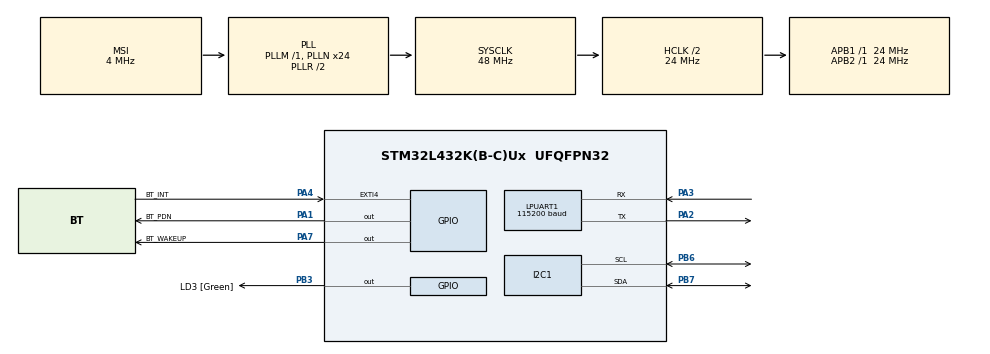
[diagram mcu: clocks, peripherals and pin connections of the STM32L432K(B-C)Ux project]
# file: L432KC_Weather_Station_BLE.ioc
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Dma.LPUART_RX.0.Direction=DMA_PERIPH_TO_MEMORY
Dma.LPUART_RX.0.Instance=DMA2_Channel7
Dma.LPUART_RX.0.MemDataAlignment=DMA_MDATAALIGN_BYTE
Dma.LPUART_RX.0.MemInc=DMA_MINC_ENABLE
Dma.LPUART_RX.0.Mode=DMA_NORMAL
Dma.LPUART_RX.0.PeriphDataAlignment=DMA_PDATAALIGN_BYTE
Dma.LPUART_RX.0.PeriphInc=DMA_PINC_DISABLE
Dma.LPUART_RX.0.Priority=DMA_PRIORITY_HIGH
Dma.Request0=LPUART_RX
I2C1.Timing=0x00506682
LPUART1.BaudRate=115200
LPUART1.WordLength=UART_WORDLENGTH_8B
Mcu.Family=STM32L4
Mcu.Name=STM32L432K(B-C)Ux
Mcu.Package=UFQFPN32
NVIC.DMA2_Channel7_IRQn=true\:0\:0\:false\:false\:true\:false\:true
NVIC.EXTI4_IRQn=true\:0\:0\:false\:false\:true\:true\:true
NVIC.PriorityGroup=NVIC_PRIORITYGROUP_4
PA0.Mode=HSE-External-Clock-Source-for-LittleOrca
PA0.Signal=RCC_CK_IN
PA1.GPIO_Label=BT_PDN
PA1.Signal=GPIO_Output
PA13\ (JTMS-SWDIO).GPIO_Label=SWDIO
PA13\ (JTMS-SWDIO).Mode=Serial_Wire
PA13\ (JTMS-SWDIO).Signal=SYS_JTMS-SWDIO
PA14\ (JTCK-SWCLK).GPIO_Label=SWCLK
PA14\ (JTCK-SWCLK).Mode=Serial_Wire
PA14\ (JTCK-SWCLK).Signal=SYS_JTCK-SWCLK
PA2.Mode=Asynchronous
PA2.Signal=LPUART1_TX
PA3.Mode=Asynchronous
PA3.Signal=LPUART1_RX
PA4.GPIO_Label=BT_INT
PA4.GPIO_ModeDefaultEXTI=GPIO_MODE_IT_RISING_FALLING
PA4.Signal=GPXTI4
PA7.GPIO_Label=BT_WAKEUP
PA7.GPIO_ModeDefaultOutputPP=GPIO_MODE_OUTPUT_PP
PA7.GPIO_PuPd=GPIO_NOPULL
PA7.PinState=GPIO_PIN_SET
PA7.Signal=GPIO_Output
PB3\ (JTDO-TRACESWO).GPIO_Label=LD3 [Green]
PB3\ (JTDO-TRACESWO).Signal=GPIO_Output
PB6.Mode=I2C
PB6.Signal=I2C1_SCL
PB7.Mode=I2C
PB7.Signal=I2C1_SDA
PC14-OSC32_IN\ (PC14).Mode=LSE-External-Oscillator
PC14-OSC32_IN\ (PC14).Signal=RCC_OSC32_IN
PC15-OSC32_OUT\ (PC15).Mode=LSE-External-Oscillator
PC15-OSC32_OUT\ (PC15).Signal=RCC_OSC32_OUT
ProjectManager.HeapSize=0x200
ProjectManager.StackSize=0x400
ProjectManager.TargetToolchain=STM32CubeIDE
RCC.ADCFreq_Value=16000000
RCC.AHBCLKDivider=RCC_SYSCLK_DIV2
RCC.AHBFreq_Value=24000000
RCC.APB1Freq_Value=24000000
RCC.APB1TimFreq_Value=24000000
RCC.APB2Freq_Value=24000000
RCC.APB2TimFreq_Value=24000000
RCC.CortexFreq_Value=24000000
RCC.HCLKFreq_Value=24000000
RCC.HSE_VALUE=8000000
RCC.HSI16_VALUE=16000000
RCC.HSI48_VALUE=48000000
RCC.HSI_VALUE=16000000
RCC.MSI_VALUE=4000000
RCC.PLLMUL=RCC_PLLMUL_4
RCC.PLLN=24
RCC.RTCClockSelection=RCC_RTCCLKSOURCE_LSE
RCC.SYSCLKFreq_VALUE=48000000
RCC.SYSCLKSource=RCC_SYSCLKSOURCE_PLLCLK
RCC.USBFreq_Value=16000000
RCC.VCOOutputFreq_Value=96000000
board=NUCLEO-L432KC

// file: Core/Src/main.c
/* USER CODE BEGIN Header */
/**
  ******************************************************************************
  * @file           : main.c
  * @brief          : Main program body
  ******************************************************************************
  * @attention
  *
  * <h2><center>&copy; Copyright (c) 2021 STMicroelectronics.
  * All rights reserved.</center></h2>
  *
  * This software component is licensed by ST under BSD 3-Clause license,
  * the "License"; You may not use this file except in compliance with the
  * License. You may obtain a copy of the License at:
  *                        opensource.org/licenses/BSD-3-Clause
  *
  ******************************************************************************
  */
/* USER CODE END Header */
#include "main.h"
#include "dma.h"
#include "i2c.h"
#include "usart.h"
#include "gpio.h"

/* USER CODE BEGIN Includes */
#include "string.h"
#include "bme280.h"
#include "bh1750.h"

#include "stdio.h"
/* USER CODE END Includes */

/* USER CODE BEGIN PTD */
typedef enum {
	bt_disconnected = 0,
	bt_connected = 1
} bt_state_t;
/* USER CODE END PTD */

/* USER CODE BEGIN PV */
bme280_t bme;
bh1750_t bh;

// BT module variables
size_t len;
char rx_buff[50];
char tx_buff[100];
uint8_t dma_state = 0;
bt_state_t bt_state = bt_disconnected;
/* USER CODE END PV */

void SystemClock_Config(void);
/* USER CODE BEGIN PFP */
void TimeCallback(void);
/* USER CODE END PFP */

int main(void)
{

  /* MCU Configuration--------------------------------------------------------*/

  /* Reset of all peripherals, Initializes the Flash interface and the Systick. */
  HAL_Init();

  /* Configure the system clock */
  SystemClock_Config();

  /* Initialize all configured peripherals */
  MX_GPIO_Init();
  MX_I2C1_Init();
  MX_DMA_Init();
  MX_LPUART1_UART_Init();
  /* USER CODE BEGIN 2 */
  HAL_Delay(1000);

  HAL_GPIO_WritePin(BT_WAKEUP_GPIO_Port, BT_WAKEUP_Pin, GPIO_PIN_RESET);
  HAL_Delay(10);
  HAL_UART_Transmit(&hlpuart1, (uint8_t*) "TTM: NAM-?\n\r\0", 13, 100);
  HAL_GPIO_WritePin(BT_WAKEUP_GPIO_Port, BT_WAKEUP_Pin, GPIO_PIN_SET);

  bme.i2c = &hi2c1;

  bme.filter = BME280_FILTER_OFF;
  bme.temp_oversampling = BME280_TEMPERATURE_OVER_1;
  bme.press_oversampling = BME280_PRESSURE_OVER_1;
  bme.hum_oversampling = BME280_HUMIDITY_OVER_1;
  bme.work_mode = BME280_NORMAL_MODE;
  bme.standby_time = BME280_STANDBY_20;

  bh.i2c = &hi2c1;
  bh.work_mode = BH1750_ONE_H_RES2_MODE;

  BME280_Init(&bme);
  bh1750_init(&bh);
  HAL_Delay(1000);
  HAL_GPIO_WritePin(LD3_GPIO_Port, LD3_Pin, GPIO_PIN_SET);
  BME280_ReadAll(&bme);
  bh1750_ReadMeasurement(&bh);
  HAL_Delay(1000);
  HAL_GPIO_WritePin(LD3_GPIO_Port, LD3_Pin, GPIO_PIN_RESET);
/*
  HAL_PWR_EnableSleepOnExit();
  HAL_RTCEx_SetWakeUpTimer_IT(&hrtc, 9, RTC_WAKEUPCLOCK_CK_SPRE_16BITS);
*/

  //HAL_UART_Transmit(&hlpuart1, (uint8_t*) "TTM: MAC-? \r\n\0", strlen("TTM: MAC-? \r\n\0"), 100);

  /* USER CODE END 2 */

  /* Infinite loop */
  /* USER CODE BEGIN WHILE */
  while (1)
  {
	SystemClock_Config();
	HAL_ResumeTick();
	  if (bt_state == bt_connected) {
		  // read data form all sensors
		  BME280_ReadAll(&bme);
		  bh1750_ReadMeasurement(&bh);
		  // turn it into string
		  len = sprintf((char*) tx_buff, "T:%.2f H:%.2f P:%.2f L:%.2f\n\r", bme.temp,bme.hum, bme.press, bh.lx);
		  // send it to Bluetooth module
		  HAL_GPIO_WritePin(BT_WAKEUP_GPIO_Port, BT_WAKEUP_Pin, GPIO_PIN_RESET);
		  HAL_Delay(2);
		  HAL_UART_Transmit(&hlpuart1, (uint8_t*) tx_buff, len, 100);
		  HAL_GPIO_WritePin(BT_WAKEUP_GPIO_Port, BT_WAKEUP_Pin, GPIO_PIN_SET);

		  HAL_Delay(5000);
	  }

    /* USER CODE END WHILE */

    /* USER CODE BEGIN 3 */
	  HAL_SuspendTick();
	  HAL_PWREx_EnterSTOP2Mode(PWR_STOPENTRY_WFI);
  }
  /* USER CODE END 3 */
}

void SystemClock_Config(void)
{
  RCC_OscInitTypeDef RCC_OscInitStruct = {0};
  RCC_ClkInitTypeDef RCC_ClkInitStruct = {0};

  /** Configure the main internal regulator output voltage
  */
  if (HAL_PWREx_ControlVoltageScaling(PWR_REGULATOR_VOLTAGE_SCALE1) != HAL_OK)
  {
    Error_Handler();
  }
  /** Configure LSE Drive Capability
  */
  HAL_PWR_EnableBkUpAccess();
  __HAL_RCC_LSEDRIVE_CONFIG(RCC_LSEDRIVE_LOW);
  /** Initializes the RCC Oscillators according to the specified parameters
  * in the RCC_OscInitTypeDef structure.
  */
  RCC_OscInitStruct.OscillatorType = RCC_OSCILLATORTYPE_LSE|RCC_OSCILLATORTYPE_MSI;
  RCC_OscInitStruct.LSEState = RCC_LSE_ON;
  RCC_OscInitStruct.MSIState = RCC_MSI_ON;
  RCC_OscInitStruct.MSICalibrationValue = 0;
  RCC_OscInitStruct.MSIClockRange = RCC_MSIRANGE_6;
  RCC_OscInitStruct.PLL.PLLState = RCC_PLL_ON;
  RCC_OscInitStruct.PLL.PLLSource = RCC_PLLSOURCE_MSI;
  RCC_OscInitStruct.PLL.PLLM = 1;
  RCC_OscInitStruct.PLL.PLLN = 24;
  RCC_OscInitStruct.PLL.PLLP = RCC_PLLP_DIV7;
  RCC_OscInitStruct.PLL.PLLQ = RCC_PLLQ_DIV2;
  RCC_OscInitStruct.PLL.PLLR = RCC_PLLR_DIV2;
  if (HAL_RCC_OscConfig(&RCC_OscInitStruct) != HAL_OK)
  {
    Error_Handler();
  }
  /** Initializes the CPU, AHB and APB buses clocks
  */
  RCC_ClkInitStruct.ClockType = RCC_CLOCKTYPE_HCLK|RCC_CLOCKTYPE_SYSCLK
                              |RCC_CLOCKTYPE_PCLK1|RCC_CLOCKTYPE_PCLK2;
  RCC_ClkInitStruct.SYSCLKSource = RCC_SYSCLKSOURCE_PLLCLK;
  RCC_ClkInitStruct.AHBCLKDivider = RCC_SYSCLK_DIV2;
  RCC_ClkInitStruct.APB1CLKDivider = RCC_HCLK_DIV1;
  RCC_ClkInitStruct.APB2CLKDivider = RCC_HCLK_DIV1;

  if (HAL_RCC_ClockConfig(&RCC_ClkInitStruct, FLASH_LATENCY_1) != HAL_OK)
  {
    Error_Handler();
  }
  /** Enable MSI Auto calibration
  */
  HAL_RCCEx_EnableMSIPLLMode();
}

/* USER CODE BEGIN 4 */
/*
 * Receive data from bt module
 */
void HAL_GPIO_EXTI_Callback(uint16_t GPIO_Pin) {
	SystemClock_Config();
	HAL_ResumeTick();

	//HAL_GPIO_WritePin(LD3_GPIO_Port, LD3_Pin, GPIO_PIN_SET);
	//BME280_ReadAll(&bme);
	//bh1750_ReadMeasurement(&bh);
	//HAL_GPIO_WritePin(LD3_GPIO_Port, LD3_Pin, GPIO_PIN_RESET);

	if (GPIO_Pin == BT_INT_Pin) {
		if (dma_state == 0) {
			if (HAL_UARTEx_ReceiveToIdle_DMA(&hlpuart1, (uint8_t*) rx_buff, 50) == HAL_OK) {
				dma_state = 1;
			}
		} else if (dma_state == 1) {
			//HAL_UART_DMAStop(&hlpuart1);
			dma_state = 0;
			 if (strncmp((char*) rx_buff, (char *)"TTM:CONNECT\r\n", 13) == 0) {
				 HAL_GPIO_WritePin(LD3_GPIO_Port, LD3_Pin, GPIO_PIN_SET);
				 bt_state = bt_connected;
			 } else if (strncmp((char*) rx_buff, (char *)"TTM:DISCONNECT\r\n", 16) == 0) {
				 HAL_GPIO_WritePin(LD3_GPIO_Port, LD3_Pin, GPIO_PIN_RESET);
				 bt_state = bt_disconnected;
			 }
			 else if (strncmp((char*) rx_buff, (char *)"TTM:DISCONNECT FOR TIMEOUT\r\n", 28) == 0) {
			 	HAL_GPIO_WritePin(LD3_GPIO_Port, LD3_Pin, GPIO_PIN_RESET);
			 	bt_state = bt_disconnected;
			 }
			 memset((void*)rx_buff,'\0',50);
		}
	}

}
/* USER CODE END 4 */

void Error_Handler(void)
{
  __disable_irq();
  while (1)
  {
  }
}

/************************ (C) COPYRIGHT STMicroelectronics *****END OF FILE****/
